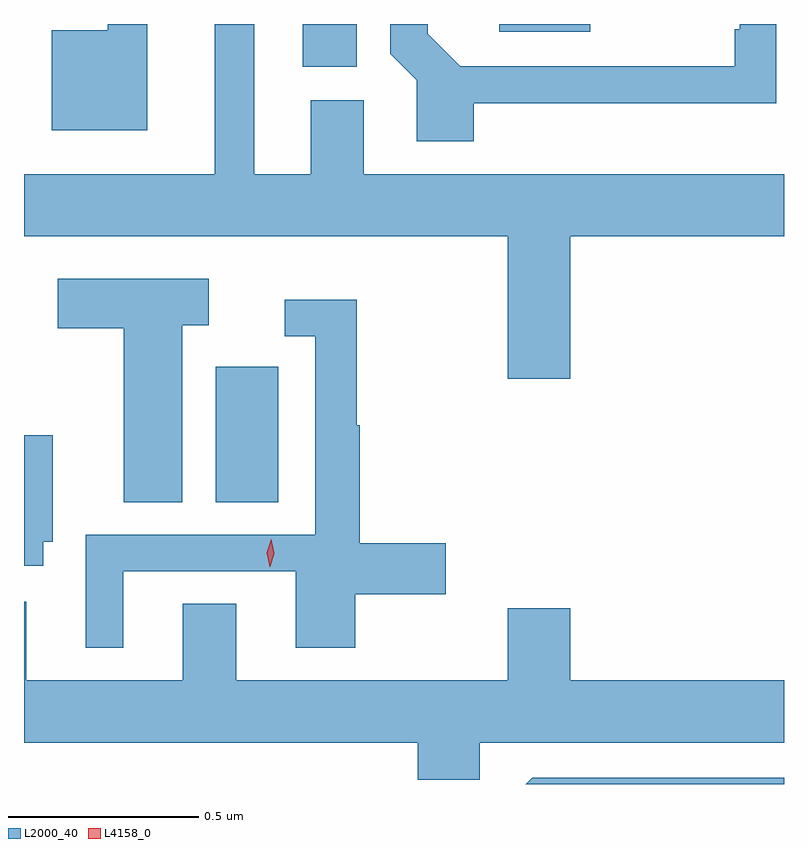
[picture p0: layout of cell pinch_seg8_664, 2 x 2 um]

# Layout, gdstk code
import gdstk
lib = gdstk.Library(unit=1e-6, precision=1e-09)
def R(c, l, rs):  # rectangles x0, y0, x1, y1
    for r in rs: c.add(gdstk.rectangle(r[:2], r[2:], *l))
def P(c, l, *ps):  # polygons
    for p in ps: c.add(gdstk.Polygon(p, *l))
L2000_40 = (2000, 40)
L4158_0 = (4158, 0)

pinch_seg8_664 = lib.new_cell('pinch_seg8_664')
R(pinch_seg8_664, L2000_40, [(248.156,1099.816,248.32,1100.173), (248.384,1100.963,248.527,1101.075), (248.901,1101.054,249.141,1101.075)])
P(pinch_seg8_664, L2000_40, [(249.088,1100.516),(249.651,1100.516),(249.651,1100.68),(248.545,1100.68),(248.545,1100.875),(248.405,1100.875),(248.405,1100.68),(248.257,1100.68),(248.257,1101.075),(248.153,1101.075),(248.153,1100.68),(247.651,1100.68),(247.651,1100.516),(248.924,1100.516),(248.924,1100.142),(249.088,1100.142)],
  [(247.975,1101.075),(247.871,1101.075),(247.871,1101.058),(247.724,1101.058),(247.724,1100.795),(247.975,1100.795)],
  [(248.834,1100.867),(249.631,1100.867),(249.631,1101.075),(249.534,1101.075),(249.534,1101.061),(249.522,1101.061),(249.522,1100.964),(248.799,1100.964),(248.714,1101.05),(248.714,1101.075),(248.615,1101.075),(248.615,1100.997),(248.685,1100.927),(248.685,1100.766),(248.834,1100.766)],
  [(248.068,1100.282),(248.137,1100.282),(248.137,1100.404),(247.74,1100.404),(247.74,1100.275),(247.913,1100.275),(247.913,1099.816),(248.068,1099.816)],
  [(247.912,1099.635),(248.366,1099.635),(248.366,1099.434),(248.523,1099.434),(248.523,1099.574),(248.761,1099.574),(248.761,1099.709),(248.534,1099.709),(248.534,1100.019),(248.527,1100.019),(248.527,1100.35),(248.337,1100.35),(248.337,1100.253),(248.418,1100.253),(248.418,1099.731),(247.814,1099.731),(247.814,1099.434),(247.912,1099.434)],
  [(247.702,1099.713),(247.726,1099.713),(247.726,1099.993),(247.651,1099.993),(247.651,1099.649),(247.702,1099.649)],
  [(247.651,1099.555),(247.651,1099.184),(248.687,1099.184),(248.687,1099.086),(248.85,1099.086),(248.85,1099.184),(249.651,1099.184),(249.651,1099.348),(249.088,1099.348),(249.088,1099.537),(248.924,1099.537),(248.924,1099.348),(248.209,1099.348),(248.209,1099.55),(248.069,1099.55),(248.069,1099.348),(247.657,1099.348),(247.657,1099.555)],
  [(249.651,1099.092),(248.988,1099.092),(248.971,1099.075),(249.651,1099.075)])
P(pinch_seg8_664, L4158_0, [(248.298,1099.647),(248.29,1099.683),(248.301,1099.719),(248.302,1099.719),(248.302,1099.719),(248.31,1099.682),(248.299,1099.647),(248.299,1099.647)])

lib.write_gds('pinch_seg8_664.gds')
